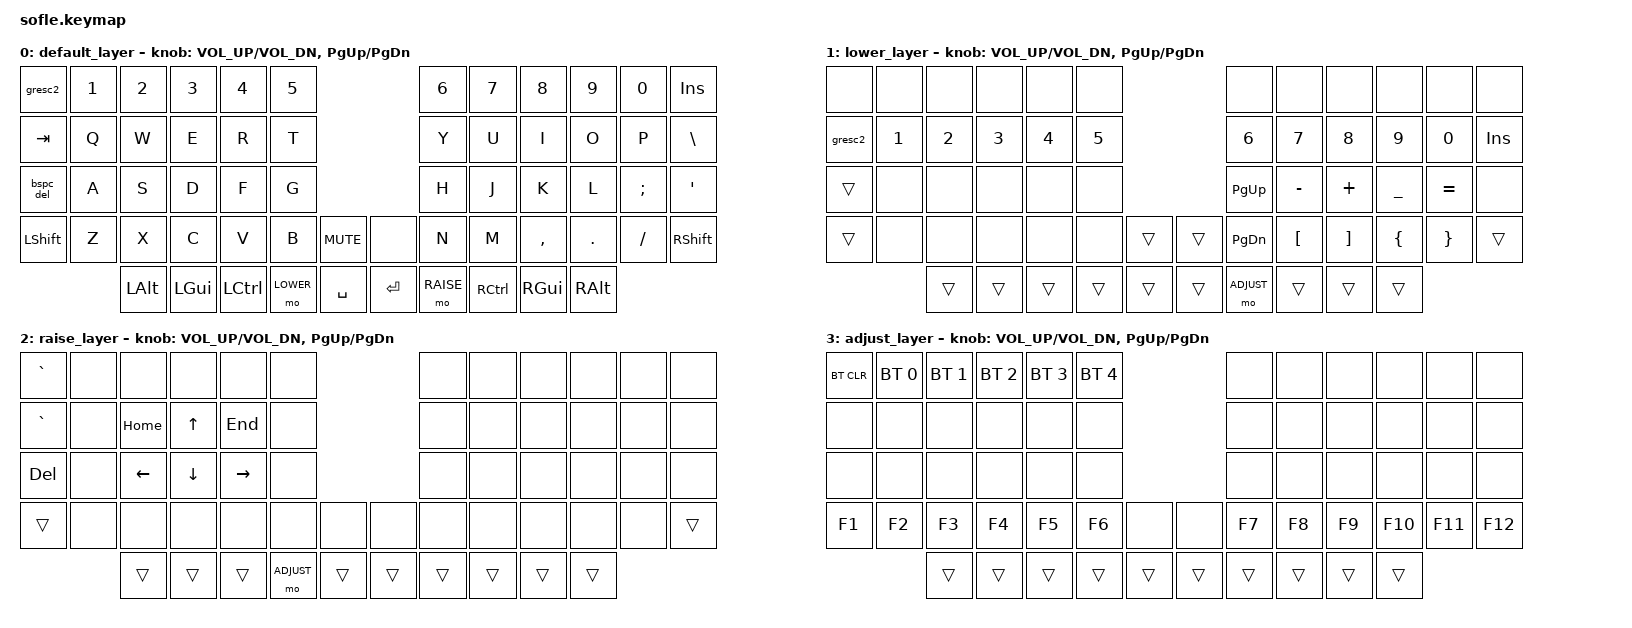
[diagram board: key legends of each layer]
/*
 * Copyright (c) 2020 The ZMK Contributors
 *
 * SPDX-License-Identifier: MIT
 */

#include <behaviors.dtsi>
#include <dt-bindings/zmk/keys.h>
#include <dt-bindings/zmk/bt.h>

#define DEFAULT 0
#define LOWER 1
#define RAISE 2
#define ADJUST 3

/ {
    behaviors {
        gresc2: grave_escape2 {
            compatible = "zmk,behavior-mod-morph";
            label = "GRAVE_ESCAPE2";
            #binding-cells = <0>;
            bindings = <&kp ESC>, <&kp TILDE>;
            mods = <(MOD_LSFT|MOD_RSFT)>;
        };
        bspc_del: backspace_delete {
            compatible = "zmk,behavior-mod-morph";
            label = "BACKSPACE_DELETE";
            #binding-cells = <0>;
            bindings = <&kp BACKSPACE>, <&kp DELETE>;
            mods = <(MOD_LSFT|MOD_RSFT)>;
        };
    };
    keymap {
        compatible = "zmk,keymap";

        default_layer {
// ------------------------------------------------------------------------------------------------------------
// | ~ESC  |  1  |  2  |  3   |  4   |  5   |                   |  6   |  7    |  8    |  9   |   0   |  INS  |
// |  TAB  |  Q  |  W  |  E   |  R   |  T   |                   |  Y   |  U    |  I    |  O   |   P   |   \   |
// | BKSPC |  A  |  S  |  D   |  F   |  G   |                   |  H   |  J    |  K    |  L   |   ;   |   '   |
// | SHIFT |  Z  |  X  |  C   |  V   |  B   |  MUTE  |  |       |  N   |  M    |  ,    |  .   |   /   | SHIFT |
//               | ALT | GUI  | CTRL | LOWER|  SPACE |  | ENTER | RAISE| CTRL  | GUI   | ALT  |
            bindings = <
&gresc2   &kp N1 &kp N2   &kp N3   &kp N4    &kp N5                         &kp N6     &kp N7    &kp N8    &kp N9   &kp N0   &kp INS
&kp TAB   &kp Q  &kp W    &kp E    &kp R     &kp T                          &kp Y      &kp U     &kp I     &kp O    &kp P    &kp BSLH
&bspc_del &kp A  &kp S    &kp D    &kp F     &kp G                          &kp H      &kp J     &kp K     &kp L    &kp SEMI &kp SQT
&kp LSHFT &kp Z  &kp X    &kp C    &kp V     &kp B      &kp C_MUTE  &none   &kp N      &kp M     &kp COMMA &kp DOT  &kp FSLH &kp RSHFT
                 &kp LALT &kp LGUI &kp LCTRL &mo LOWER  &kp SPACE   &kp RET &mo RAISE  &kp RCTRL &kp RGUI  &kp RALT
            >;

            sensor-bindings = <&inc_dec_kp C_VOL_UP C_VOL_DN &inc_dec_kp PG_UP PG_DN>;
        };

        lower_layer {
// TODO: Some binds are waiting for shifted keycode support.
// ------------------------------------------------------------------------------------------------------------
// |       |     |     |      |      |      |                   |      |       |       |      |       |       |
// | ~ESC  |   1 |   2 |   3  |   4  |   5  |                   |   6  |   7   |   8   |   9  |    0  |  INS  |
// |       |     |     |      |      |      |                   | PGUP |  -    |  +    |  _   |   =   |       |
// | SHIFT |     |     |      |      |      |        |  |       | PGDN |  [    |  ]    |  {   |   }   | SHIFT |
//               | ALT | GUI  | CTRL |      |  SPACE |  | ENTER |ADJUST| CTRL  | GUI   | ALT  |
            bindings = <
&none   &none  &none  &none  &none  &none                 &none      &none     &none    &none     &none     &none
&gresc2 &kp N1 &kp N2 &kp N3 &kp N4 &kp N5                &kp N6     &kp N7    &kp N8   &kp N9    &kp N0    &kp INS
&trans  &none  &none  &none  &none  &none                 &kp PG_UP  &kp MINUS &kp PLUS &kp UNDER &kp EQUAL &none
&trans  &none  &none  &none  &none  &none  &trans  &trans &kp PG_DN  &kp LBKT  &kp RBKT &kp LBRC  &kp RBRC  &trans
               &trans &trans &trans &trans &trans  &trans &mo ADJUST &trans    &trans   &trans
            >;

            sensor-bindings = <&inc_dec_kp C_VOL_UP C_VOL_DN &inc_dec_kp PG_UP PG_DN>;
        };

        raise_layer {
// ------------------------------------------------------------------------------------------------------------
// |   `   |     |     |      |      |      |                   |      |       |       |      |       |       |
// |   `   |     | HOME|   ^  |  END |      |                   | PGUP |       |       |      |       |       |
// | DEL   |     |  <- |   v  |  ->  |      |                   | PGDN |       |       |      |       |       |
// | SHIFT |     |     |      |      |      |        |  |       |      |       |       |      |       | SHIFT |
//               | ALT | GUI  | CTRL |ADJUST|  SPACE |  | ENTER |      | CTRL  | GUI   | ALT  |
            bindings = <
&kp GRAVE  &none  &none     &none     &none      &none                        &none   &none   &none   &none   &none  &none
&kp GRAVE  &none  &kp HOME  &kp UP    &kp END    &none                        &none   &none   &none   &none   &none  &none
&kp DEL    &none  &kp LEFT  &kp DOWN  &kp RIGHT  &none                        &none   &none   &none   &none   &none  &none
&trans     &none  &none     &none     &none      &none        &none   &none   &none   &none   &none   &none   &none  &trans
                  &trans    &trans    &trans     &mo ADJUST   &trans  &trans  &trans  &trans  &trans  &trans
            >;

            sensor-bindings = <&inc_dec_kp C_VOL_UP C_VOL_DN &inc_dec_kp PG_UP PG_DN>;
        };

        adjust_layer {
// ------------------------------------------------------------------------------------------------------------
// |BTCLR  | BT1 | BT2 |  BT3 |  BT4 |  BT5 |                   |      |       |       |      |       |       |
// |       |     |     |      |      |      |                   |      |       |       |      |       |       |
// |       |     |     |      |      |      |                   |      |       |       |      |       |       |
// |  F1   | F2  | F3  |  F4  |  F5  |  F6  |        |  |       |  F7  |  F8   |  F9   | F10  |  F11  |  F12  |
//               | ALT | GUI  | CTRL | LOWER|  SPACE |  | ENTER | RAISE| CTRL  | GUI   | ALT  |
            bindings = <
&bt BT_CLR &bt BT_SEL 0 &bt BT_SEL 1 &bt BT_SEL 2 &bt BT_SEL 3 &bt BT_SEL 4                     &none  &none  &none  &none  &none  &none
&none      &none        &none        &none        &none        &none                     &none  &none  &none  &none   &none   &none
&none      &none        &none        &none        &none        &none                     &none  &none  &none  &none   &none   &none
&kp F1     &kp F2       &kp F3       &kp F4       &kp F5       &kp F6      &none  &none  &kp F7 &kp F8 &kp F9 &kp F10 &kp F11 &kp F12
                        &trans       &trans       &trans       &trans      &trans &trans &trans &trans &trans &trans
            >;

            sensor-bindings = <&inc_dec_kp C_VOL_UP C_VOL_DN &inc_dec_kp PG_UP PG_DN>;
        };
    };
};
